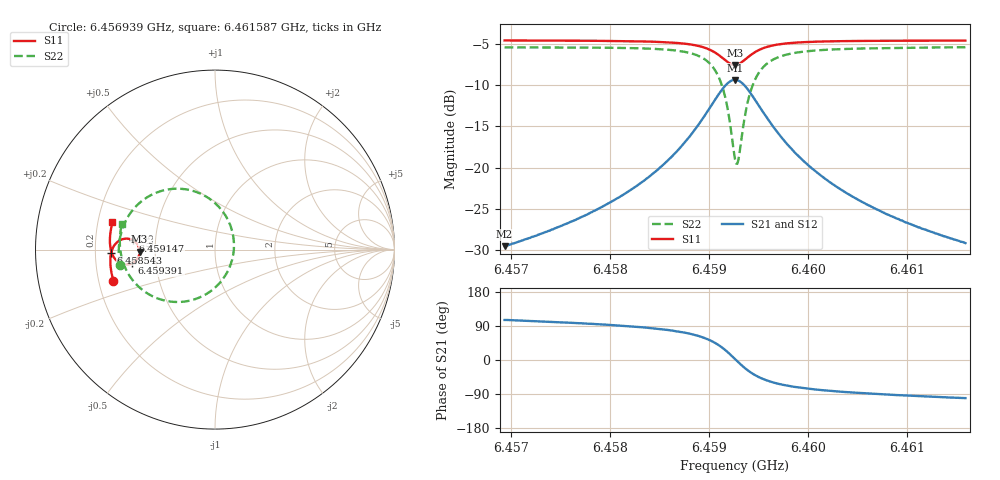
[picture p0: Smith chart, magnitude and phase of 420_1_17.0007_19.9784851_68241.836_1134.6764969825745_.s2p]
#  HZ  S  RI  R  50.00
! Rohde & Schwarz Vector Network Analyzer
! Rohde-Schwarz,ZNB20-2Port,1311601062101988,3.16
! Created: UTC 3/20/2024, 11:10:54 PM
! freq[Hz]  re:S11  im:S11  re:S21  im:S21  re:S12  im:S12  re:S22  im:S22
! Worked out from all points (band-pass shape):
!   401 points, 6.456939 GHz to 6.461587 GHz, reference 50 ohm
!   highest |S21| = -9.34 dB at 6.459263 GHz (marker M1); lowest = -29.6 dB at 6.456939 GHz (marker M2)
!   |S21| within 3 dB of the highest: 6.459031 GHz to 6.459496 GHz (464.9 kHz wide, 0.0072 % of centre)
!   lowest |S11| = -7.5 dB at 6.459263 GHz (marker M3), VSWR 2.45, Z = 20.4 - j0.539 ohm
!   |S11| at or under -10 dB: nowhere
!   |S22| runs from -19.6 to -5.4 dB; largest |S21 - S12| = 0.013
!   S11 on the Smith chart (normalised r, x): 6.456939 GHz: 0.26, -0.14; 6.458543 GHz: 0.27, -0.01; 6.459147 GHz: 0.37, +0.05; 6.459391 GHz: 0.37, -0.07; 6.461587 GHz: 0.26, +0.12
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6.4569394e9  -0.5658 -0.175  -0.00895 0.032  -0.00733 0.032  -0.5297 -0.088
6.4577179e9  -0.5803 -0.1072  -0.00599 0.0498  -0.00328 0.0492  -0.536 0.00213
6.4581478e9  -0.5836 -0.0645  -0.000183 0.069  0.00317 0.0677  -0.5284 0.0694
6.4584964e9  -0.5798 -0.023  0.0136 0.0977  0.0175 0.095  -0.5038 0.1468
6.4585429e9  -0.5784 -0.0167  0.0169 0.1031  0.0209 0.1001  -0.4976 0.1599
6.458752e9  -0.5664 0.0149  0.0426 0.1345  0.0467 0.1297  -0.4495 0.2312
6.4589031e9  -0.5453 0.0414  0.0848 0.1645  0.088 0.1579  -0.372 0.2951
6.4590541e9  -0.4997 0.0609  0.1756 0.1835  0.1766 0.1762  -0.206 0.3394
6.4591471e9  -0.4557 0.051  0.2645 0.1531  0.2648 0.1471  -0.0416 0.2906
6.4591936e9  -0.4347 0.0326  0.3077 0.1108  0.3089 0.1055  0.0405 0.2159
6.4592633e9  -0.4201 -0.0109  0.3409 0.0154  0.3444 0.0085  0.1054 0.0388
6.4592865e9  -0.4217 -0.0267  0.3388 -0.0196  0.3428 -0.0277  0.1018 -0.0271
6.4592982e9  -0.4239 -0.0343  0.3354 -0.0364  0.3391 -0.0454  0.0947 -0.0592
6.4593446e9  -0.4392 -0.06  0.3075 -0.0958  0.3097 -0.1074  0.0387 -0.171
6.4593911e9  -0.4609 -0.0761  0.2661 -0.1364  0.2655 -0.1495  -0.0447 -0.2454
6.4594841e9  -0.5038 -0.0827  0.1826 -0.1676  0.1765 -0.179  -0.2109 -0.2919
6.4596351e9  -0.5471 -0.0623  0.0956 -0.1544  0.0874 -0.1604  -0.3768 -0.2441
6.4597978e9  -0.5685 -0.0348  0.0513 -0.127  0.0438 -0.1299  -0.4565 -0.1733
6.4600418e9  -0.5811 0.000718  0.0224 -0.0959  0.0166 -0.0965  -0.5043 -0.0917
6.4604136e9  -0.5856 0.0444  0.00585 -0.0683  0.00184 -0.0678  -0.5265 -0.00886
6.4608203e9  -0.5836 0.0849  -0.00133 -0.0512  -0.00424 -0.0504  -0.5302 0.0548
6.4615872e9  -0.5712 0.1526  -0.00635 -0.0341  -0.00822 -0.0333  -0.5189 0.1446
